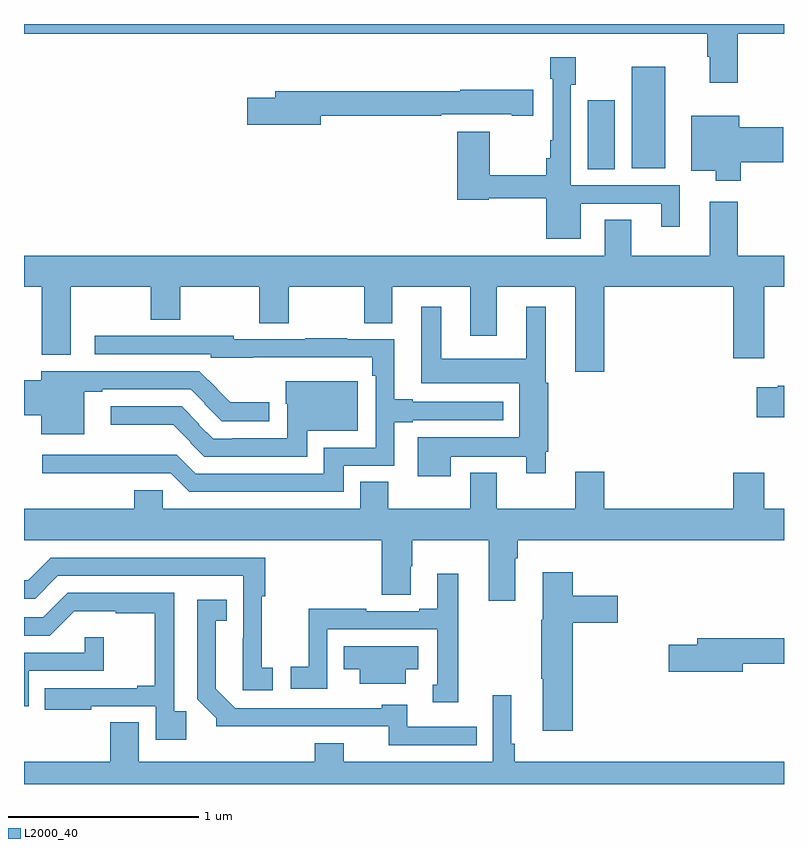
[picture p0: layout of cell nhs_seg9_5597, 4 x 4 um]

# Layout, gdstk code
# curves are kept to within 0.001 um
import gdstk
lib = gdstk.Library(unit=1e-6, precision=1e-09)
def R(c, l, rs):  # rectangles x0, y0, x1, y1
    for r in rs: c.add(gdstk.rectangle(r[:2], r[2:], *l))
def P(c, l, *ps):  # polygons
    for p in ps: c.add(gdstk.Polygon(p, *l))
L2000_40 = (2000, 40)

nhs_seg9_5597 = lib.new_cell('nhs_seg9_5597')
R(nhs_seg9_5597, L2000_40, [(439.967,1167.736,440.11,1168.099), (440.198,1167.74,440.374,1168.276)])
P(nhs_seg9_5597, L2000_40, [(440.757,1168.448),(441,1168.448),(441,1168.5),(437,1168.5),(437,1168.448),(440.597,1168.448),(440.597,1168.328),(440.609,1168.328),(440.609,1168.191),(440.757,1168.191)],
  [(439.93,1167.555),(440.354,1167.555),(440.354,1167.432),(440.452,1167.432),(440.452,1167.651),(439.878,1167.651),(439.878,1168.179),(439.905,1168.179),(439.905,1168.324),(439.77,1168.324),(439.77,1168.211),(439.782,1168.211),(439.782,1167.889),(439.77,1167.889),(439.77,1167.793),(439.748,1167.793),(439.748,1167.703),(439.45,1167.703),(439.45,1167.934),(439.28,1167.934),(439.28,1167.574),(439.446,1167.574),(439.446,1167.582),(439.748,1167.582),(439.748,1167.371),(439.93,1167.371)],
  [(438.562,1168.018),(439.196,1168.018),(439.196,1168.025),(439.568,1168.025),(439.568,1168.018),(439.681,1168.018),(439.681,1168.155),(439.296,1168.155),(439.296,1168.147),(438.323,1168.147),(438.323,1168.113),(438.174,1168.113),(438.174,1167.971),(438.562,1167.971)],
  [(440.772,1167.773),(440.995,1167.773),(440.995,1167.956),(440.764,1167.956),(440.764,1168.018),(440.513,1168.018),(440.513,1167.728),(440.642,1167.728),(440.642,1167.674),(440.772,1167.674)],
  [(440.054,1167.116),(440.732,1167.116),(440.732,1166.742),(440.896,1166.742),(440.896,1167.116),(441,1167.116),(441,1167.28),(440.757,1167.28),(440.757,1167.565),(440.609,1167.565),(440.609,1167.28),(440.197,1167.28),(440.197,1167.47),(440.057,1167.47),(440.057,1167.28),(437,1167.28),(437,1167.116),(437.093,1167.116),(437.093,1166.759),(437.245,1166.759),(437.245,1167.116),(437.668,1167.116),(437.668,1166.944),(437.823,1166.944),(437.823,1167.116),(438.238,1167.116),(438.238,1166.926),(438.393,1166.926),(438.393,1167.116),(438.79,1167.116),(438.79,1166.926),(438.937,1166.926),(438.937,1167.116),(439.349,1167.116),(439.349,1166.859),(439.489,1166.859),(439.489,1167.116),(439.901,1167.116),(439.901,1166.67),(440.054,1166.67)],
  [(439.246,1166.222),(439.643,1166.222),(439.643,1166.136),(439.747,1166.136),(439.747,1166.248),(439.76,1166.248),(439.76,1166.613),(439.747,1166.613),(439.747,1167.013),(439.643,1167.013),(439.643,1166.737),(439.195,1166.737),(439.195,1167.013),(439.091,1167.013),(439.091,1166.609),(439.607,1166.609),(439.607,1166.326),(439.073,1166.326),(439.073,1166.12),(439.246,1166.12)],
  [(438.682,1166.175),(438.948,1166.175),(438.948,1166.403),(439.045,1166.403),(439.045,1166.415),(439.522,1166.415),(439.522,1166.511),(439.045,1166.511),(439.045,1166.524),(438.949,1166.524),(438.949,1166.841),(438.701,1166.841),(438.701,1166.846),(438.481,1166.846),(438.481,1166.841),(438.105,1166.841),(438.105,1166.859),(437.373,1166.859),(437.373,1166.763),(437.982,1166.763),(437.982,1166.744),(438.833,1166.745),(438.833,1166.648),(438.852,1166.648),(438.852,1166.271),(438.578,1166.271),(438.578,1166.133),(437.904,1166.133),(437.805,1166.232),(437.097,1166.232),(437.097,1166.135),(437.772,1166.136),(437.871,1166.037),(438.682,1166.037)],
  [(437.317,1166.565),(437.413,1166.565),(437.413,1166.577),(437.877,1166.577),(437.95,1166.504),(437.948,1166.502),(438.041,1166.409),(438.292,1166.409),(438.292,1166.508),(438.086,1166.508),(437.923,1166.673),(437.09,1166.673),(437.09,1166.624),(437,1166.624),(437,1166.441),(437.09,1166.441),(437.09,1166.342),(437.317,1166.342)],
  [(438.49,1166.36),(438.757,1166.36),(438.757,1166.62),(438.377,1166.62),(438.377,1166.502),(438.386,1166.502),(438.386,1166.319),(438.097,1166.319),(438.097,1166.316),(437.997,1166.316),(437.921,1166.392),(437.923,1166.394),(437.83,1166.487),(437.457,1166.487),(437.457,1166.39),(437.785,1166.39),(437.877,1166.298),(437.875,1166.296),(437.948,1166.223),(438.49,1166.223)],
  [(441,1166.597),(440.968,1166.597),(440.968,1166.587),(440.856,1166.587),(440.856,1166.429),(441,1166.429)],
  [(439.585,1165.688),(439.598,1165.688),(439.598,1165.784),(441,1165.784),(441,1165.948),(440.896,1165.948),(440.896,1166.137),(440.732,1166.137),(440.732,1165.948),(440.054,1165.948),(440.054,1166.143),(439.901,1166.143),(439.901,1165.948),(439.489,1165.948),(439.489,1166.137),(439.349,1166.137),(439.349,1165.948),(438.918,1165.948),(438.918,1166.09),(438.77,1166.09),(438.77,1165.948),(437.73,1165.948),(437.73,1166.046),(437.579,1166.046),(437.579,1165.948),(437,1165.948),(437,1165.784),(438.884,1165.784),(438.884,1165.495),(439.036,1165.495),(439.036,1165.646),(439.044,1165.646),(439.044,1165.784),(439.445,1165.784),(439.445,1165.464),(439.585,1165.464)],
  [(438.31,1165.113),(438.252,1165.113),(438.252,1165.489),(438.269,1165.489),(438.269,1165.692),(437.142,1165.692),(437.022,1165.572),(437,1165.572),(437,1165.476),(437.058,1165.476),(437.178,1165.596),(438.153,1165.596),(438.152,1164.993),(438.31,1164.993)],
  [(439.889,1165.349),(440.125,1165.349),(440.125,1165.491),(439.889,1165.491),(439.889,1165.615),(439.73,1165.615),(439.73,1165.365),(439.723,1165.365),(439.723,1165.054),(439.73,1165.054),(439.73,1164.78),(439.889,1164.78)],
  [(439.285,1165.606),(439.175,1165.606),(439.175,1165.423),(439.079,1165.423),(439.079,1165.41),(438.8,1165.41),(438.8,1165.423),(438.499,1165.423),(438.499,1165.118),(438.405,1165.118),(438.405,1165.002),(438.597,1165.002),(438.597,1165.314),(439.176,1165.314),(439.176,1165.023),(439.151,1165.023),(439.151,1164.929),(439.285,1164.929)],
  [(437.855,1164.883),(437.79,1164.883),(437.79,1165.506),(437.229,1165.506),(437.1,1165.377),(437,1165.377),(437,1165.281),(437.136,1165.281),(437.264,1165.409),(437.483,1165.409),(437.483,1165.398),(437.689,1165.398),(437.689,1165.018),(437.597,1165.018),(437.597,1165.005),(437.11,1165.005),(437.11,1164.89),(437.353,1164.89),(437.353,1164.909),(437.694,1164.909),(437.694,1164.732),(437.855,1164.732)],
  [(439.382,1164.801),(439.018,1164.801),(439.018,1164.916),(438.882,1164.916),(438.882,1164.9),(438.111,1164.9),(438.01,1165.001),(438.01,1165.358),(438.068,1165.358),(438.068,1165.471),(437.913,1165.471),(437.913,1164.946),(438.012,1164.847),(438.012,1164.803),(438.919,1164.804),(438.919,1164.705),(439.382,1164.705)],
  [(437.025,1165.095),(437.42,1165.095),(437.42,1165.273),(437.319,1165.273),(437.319,1165.191),(437,1165.191),(437,1164.909),(437.025,1164.909)],
  [(440.782,1165.132),(441,1165.132),(441,1165.268),(440.543,1165.268),(440.543,1165.232),(440.394,1165.232),(440.394,1165.09),(440.782,1165.09)],
  [(439.009,1165.103),(439.075,1165.103),(439.075,1165.225),(438.682,1165.225),(438.682,1165.103),(438.767,1165.103),(438.767,1165.028),(439.009,1165.028)],
  [(439.467,1164.616),(438.682,1164.616),(438.682,1164.715),(438.53,1164.715),(438.53,1164.616),(437.605,1164.616),(437.605,1164.824),(437.453,1164.824),(437.453,1164.616),(437,1164.616),(437,1164.5),(441,1164.5),(441,1164.616),(439.583,1164.616),(439.583,1164.712),(439.564,1164.712),(439.564,1164.967),(439.467,1164.967)])

lib.write_gds('nhs_seg9_5597.gds')
